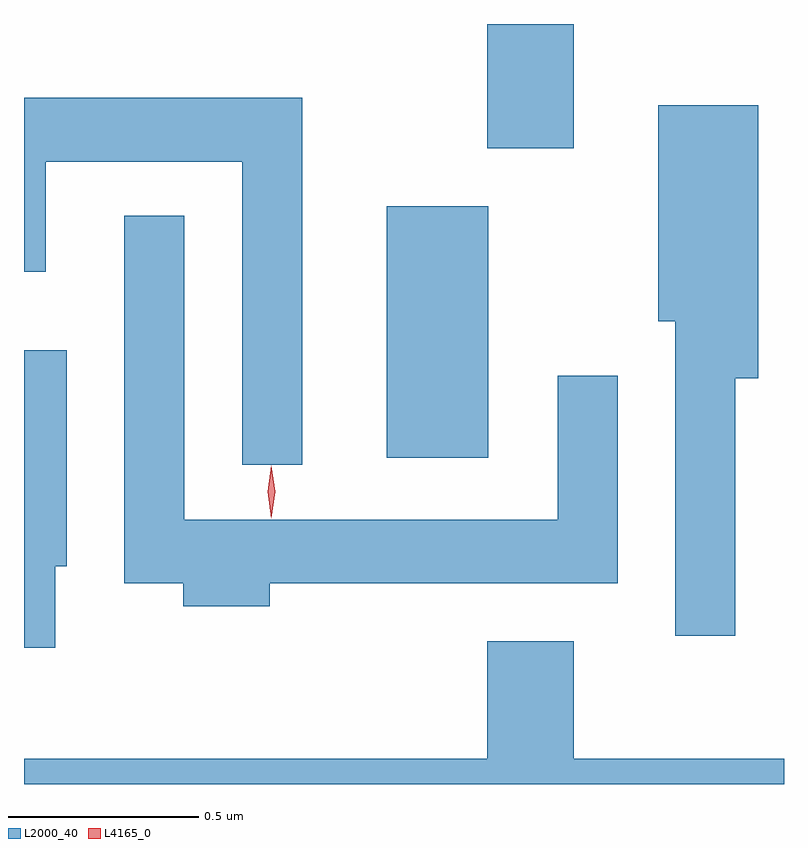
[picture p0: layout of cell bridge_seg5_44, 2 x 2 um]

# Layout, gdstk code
import gdstk
lib = gdstk.Library(unit=1e-6, precision=1e-09)
def R(c, l, rs):  # rectangles x0, y0, x1, y1
    for r in rs: c.add(gdstk.rectangle(r[:2], r[2:], *l))
def P(c, l, *ps):  # polygons
    for p in ps: c.add(gdstk.Polygon(p, *l))
L2000_40 = (2000, 40)
L4165_0 = (4165, 0)

bridge_seg5_44 = lib.new_cell('bridge_seg5_44')
R(bridge_seg5_44, L2000_40, [(1329.326,1468.956,1329.594,1469.619), (1329.591,1469.771,1329.819,1470.098)])
P(bridge_seg5_44, L2000_40, [(1329.104,1469.904),(1328.372,1469.904),(1328.372,1469.446),(1328.429,1469.446),(1328.429,1469.736),(1328.946,1469.736),(1328.946,1468.938),(1329.104,1468.938)],
  [(1330.244,1469.166),(1330.304,1469.166),(1330.304,1469.884),(1330.041,1469.884),(1330.041,1469.316),(1330.086,1469.316),(1330.086,1468.488),(1330.244,1468.488)],
  [(1329.019,1468.626),(1329.934,1468.626),(1329.934,1469.173),(1329.776,1469.173),(1329.776,1468.794),(1328.794,1468.794),(1328.794,1469.593),(1328.636,1469.593),(1328.636,1468.626),(1328.791,1468.626),(1328.791,1468.566),(1329.019,1468.566)],
  [(1328.454,1468.671),(1328.484,1468.671),(1328.484,1469.239),(1328.372,1469.239),(1328.372,1468.456),(1328.454,1468.456)],
  [(1330.372,1468.164),(1329.819,1468.164),(1329.819,1468.474),(1329.591,1468.474),(1329.591,1468.164),(1328.372,1468.164),(1328.372,1468.098),(1330.372,1468.098)])
P(bridge_seg5_44, L4165_0, [(1329.023,1468.797),(1329.022,1468.798),(1329.013,1468.867),(1329.022,1468.936),(1329.023,1468.936),(1329.023,1468.936),(1329.033,1468.867),(1329.023,1468.798)])

lib.write_gds('bridge_seg5_44.gds')
